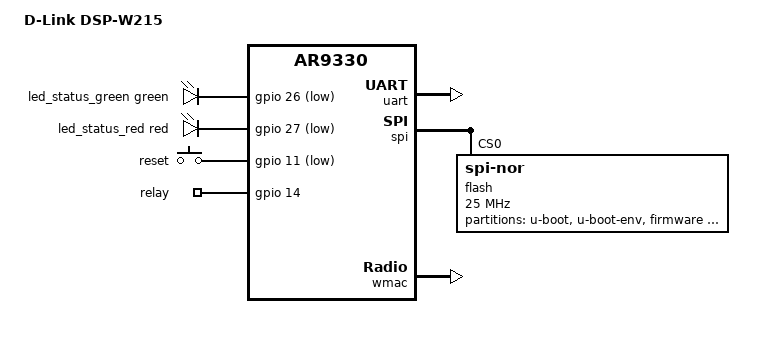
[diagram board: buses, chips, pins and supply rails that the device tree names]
// SPDX-License-Identifier: GPL-2.0-or-later OR MIT
/dts-v1/;

#include "ar9330.dtsi"

#include <dt-bindings/gpio/gpio.h>
#include <dt-bindings/input/input.h>

/*
 * D-Link DSP-W215 Wi-Fi smart plug — Atheros AR9330 (Hornet).
 *
 * Values marked CONFIRM: must be verified on real hardware (see HARDWARE.md):
 *   - flash size + exact partition offsets (cat /proc/mtd)
 *   - relay GPIO number, button GPIO number(s), LED polarity, 3rd LED (gpio19)
 *   - whether the PL8331 meter shares this UART with the console
 */

/ {
	compatible = "dlink,dsp-w215", "qca,ar9330";
	model = "D-Link DSP-W215";

	aliases {
		serial0 = &uart;
		led-boot = &led_status_red;
		led-failsafe = &led_status_red;
		led-running = &led_status_green;
		led-upgrade = &led_status_red;
		label-mac-device = &wmac;
	};

	chosen {
		bootargs = "console=ttyS0,115200";
	};

	leds {
		compatible = "gpio-leds";

		led_status_green: led-0 {
			/* CONFIRM polarity (ACTIVE_LOW assumed) */
			function = LED_FUNCTION_STATUS;
			color = <LED_COLOR_ID_GREEN>;
			gpios = <&gpio 26 GPIO_ACTIVE_LOW>;
		};

		led_status_red: led-1 {
			function = LED_FUNCTION_STATUS;
			color = <LED_COLOR_ID_RED>;
			gpios = <&gpio 27 GPIO_ACTIVE_LOW>;
		};

		/* CONFIRM: stock boot also toggles gpio19 — identify what it drives.
		led-2 {
			function = LED_FUNCTION_WPS;
			color = <LED_COLOR_ID_BLUE>;
			gpios = <&gpio 19 GPIO_ACTIVE_LOW>;
		};
		*/
	};

	keys {
		compatible = "gpio-keys";

		/* AR933x jumpstart/simple_config button. CONFIRM gpio number (often 11). */
		reset {
			label = "reset";
			linux,code = <KEY_RESTART>;
			gpios = <&gpio 11 GPIO_ACTIVE_LOW>;
			debounce-interval = <60>;
		};
		/* CONFIRM: WPS may be a separate button or the same one.
		wps {
			label = "wps";
			linux,code = <KEY_WPS_BUTTON>;
			gpios = <&gpio 12 GPIO_ACTIVE_LOW>;
			debounce-interval = <60>;
		};
		*/
	};

	/*
	 * Relay (mains switch). Exported so userspace (dspw215-meterd) and LuCI can
	 * drive it. CONFIRM the GPIO number — kernel calls it RELAY_SWITCH_GPIO.
	 */
	gpio-export {
		compatible = "gpio-export";
		#size-cells = <0>;

		relay {
			gpio-export,name = "relay";
			gpio-export,output = <0>;   /* default OFF */
			gpios = <&gpio 14 GPIO_ACTIVE_HIGH>;   /* CONFIRM number + polarity */
		};
	};
};

&uart {
	status = "okay";
};

&gpio {
	status = "okay";
};

&spi {
	status = "okay";

	flash@0 {
		compatible = "jedec,spi-nor";
		reg = <0>;
		spi-max-frequency = <25000000>;

		partitions {
			compatible = "fixed-partitions";
			#address-cells = <1>;
			#size-cells = <1>;

			/* CONFIRM all offsets/sizes against `cat /proc/mtd`.
			 * Layout below assumes an 8 MB flash; only u-boot and art
			 * offsets are critical to preserve. */
			partition@0 {
				label = "u-boot";
				reg = <0x000000 0x010000>;
				read-only;
			};

			partition@10000 {
				label = "u-boot-env";      /* CONFIRM exists/offset */
				reg = <0x010000 0x010000>;
			};

			partition@20000 {
				label = "firmware";        /* kernel+rootfs; OpenWrt auto-splits */
				reg = <0x020000 0x7d0000>; /* CONFIRM size (8MB - boot - art) */
				compatible = "denx,uimage";
			};

			art: partition@7f0000 {
				label = "art";             /* radio calibration — PRESERVE */
				reg = <0x7f0000 0x010000>;
				read-only;
			};
		};
	};
};

&wmac {
	status = "okay";
	mtd-cal-data = <&art 0x1000>;   /* CONFIRM cal offset within art */
};
